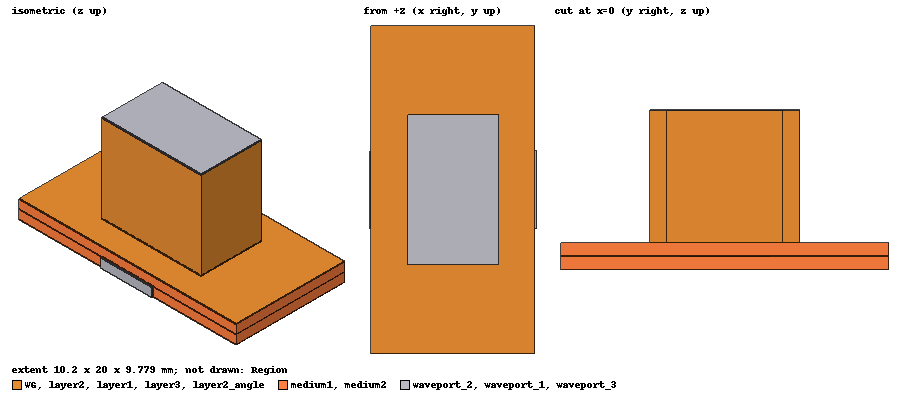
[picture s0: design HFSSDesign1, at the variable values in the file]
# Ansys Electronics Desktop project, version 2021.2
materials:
  vacuum: permittivity=1
  copper: permeability=0.999991 conductivity=58000000
  Rogers RO4003 (tm): permittivity=3.55 dielectric_loss_tangent=0.0027
  Rogers RT/duroid 5880 (tm): permittivity=2.2 dielectric_loss_tangent=0.0009
  air: permittivity=1.0006 permeability=1.0000004
  pec: conductivity=1e+30
  Rogers RO4350 (tm): permittivity=3.66 dielectric_loss_tangent=0.004
  Rogers TMM 3 (tm): permittivity=3.4 dielectric_loss_tangent=0.002
  Rogers RT/duroid 6010/6010LM (tm): permittivity=10.2 dielectric_loss_tangent=0.0023

design HFSSDesign1 (HFSS, DrivenModal, model units mm)
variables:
  m_length = 10mm
  m_width = 20mm
  m_thickness = 0.787mm
  line_thickness = 0.035mm
  WG_length = 3.556mm
  WG_width = 7.112mm
  WG_high = 8mm
  WG_thickness = 1mm
  layer1_sub_length = 3.2mm
  layer1_sub_width = 5.5mm
  layer1_angle_length = 0.4mm
  layer1_angle_width = 1.8mm
  layer2_sub_length = layer1_sub_length
  layer2_sub_width = layer1_sub_width
  layer2_angle_length = 0.25mm
  layer2_angle_width = 1.3mm
  SIW_width = 4.8mm
  via_radius = 0.15mm
  L1 = 3.9mm
  W1 = 6.2mm
  W7 = 3.7mm
  match_via_xdis = 0.1mm
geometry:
  medium1 [Rogers RT/duroid 5880 (tm)] = box(corner=(- m_length /2, - m_width /2, line_thickness /2), size=(m_length, m_width, m_thickness))
  layer1 [copper] = box(corner=(- m_length /2, - m_width /2, m_thickness + line_thickness/2), size=(m_length, m_width, line_thickness))
  layer2 [copper] = box(corner=(- m_length /2, - m_width /2, - line_thickness/2), size=(m_length, m_width, line_thickness))
  layer3 [copper] = box(corner=(- m_length /2, - m_width /2, - m_thickness  - line_thickness * 1.5), size=(m_length, m_width, line_thickness))
  medium2 [Rogers RT/duroid 5880 (tm)] = box(corner=(- m_length /2, - m_width /2, - line_thickness /2 - m_thickness), size=(m_length, m_width, m_thickness))
  WG_sub = box(corner=(- WG_length /2, - WG_width /2, line_thickness * 1.5 + m_thickness), size=(WG_length, WG_width, WG_high))
  WG [copper] = box(corner=(-  (WG_length  + WG_thickness *2) /2, - ( WG_width  + WG_thickness *2) /2, line_thickness * 1.5 + m_thickness), size=(WG_length + WG_thickness *2, WG_width + WG_thickness *2, WG_high))
  layer1_sub = box(corner=(- layer1_sub_length /2, - layer1_sub_width /2, m_thickness + line_thickness/2), size=(layer1_sub_length, layer1_sub_width, line_thickness))
  layer1_angle [copper] = box(corner=(layer1_sub_length /2 - layer1_angle_length, - layer1_angle_width /2, m_thickness + line_thickness/2), size=(layer1_angle_length, layer1_angle_width, line_thickness))
  layer1_angle_1 = layer1_angle.duplicate_mirror(point=(0mm, 0mm, 0mm), normal=(1.6mm, 0mm, 0mm))
  layer1_angle.unite(layer1_angle_1)
  layer2_sub = box(corner=(- layer2_sub_length /2, - layer2_sub_width /2, - line_thickness/2), size=(layer2_sub_length, layer2_sub_width, line_thickness))
  layer2_angle [copper] = box(corner=(layer2_sub_length /2 - layer2_angle_length, - layer2_angle_width /2, - line_thickness/2), size=(layer2_angle_length, layer2_angle_width, line_thickness))
  layer1_angle_2 = layer2_angle.duplicate_mirror(point=(0mm, 0mm, 0mm), normal=(1.6mm, 0mm, 0mm))
  layer2_angle.unite(layer1_angle_2)
  layer1.subtract(layer1_sub)
  layer2.subtract(layer2_sub)
  waveport1 = rectangle(corner=(m_length /2, - SIW_width /2, - line_thickness * 1.5 - m_thickness), y_size=SIW_width, z_size=m_thickness + line_thickness *2)
  waveport_1 [pec] = box(corner=(m_length /2, - SIW_width /2, - line_thickness * 1.5 - m_thickness), size=(0.1mm, SIW_width, m_thickness + line_thickness * 2))
  waveport2 = rectangle(corner=(-  (WG_length  + WG_thickness *2) /2, - ( WG_width  + WG_thickness *2) /2, line_thickness * 1.5 + m_thickness + WG_high), x_size=WG_length + WG_thickness *2, y_size=WG_width + WG_thickness *2)
  waveport_2 [pec] = box(corner=(-  (WG_length  + WG_thickness *2) /2, - ( WG_width  + WG_thickness *2) /2, line_thickness * 1.5 + m_thickness + WG_high), size=(WG_length + WG_thickness *2, WG_width + WG_thickness *2, 0.1mm))
  WG.subtract(WG_sub)
  via [copper] = cylinder(axis=Z, base_centre=(-L1 /2, - W1 /2, line_thickness * 0.5), radius=via_radius, height=m_thickness)
  via1 = cylinder(axis=Z, base_centre=(L1 /2, - W1 /2, line_thickness * 0.5), radius=via_radius, height=m_thickness)
  via2 = cylinder(axis=Z, base_centre=(L1 /2, W1 /2, line_thickness * 0.5), radius=via_radius, height=m_thickness)
  via_1..via_6 = via.duplicate_along_line(step=(0.55mm, 0mm, 0mm), total=7)
  via1_1..via1_10 = via1.duplicate_along_line(step=(0mm, 0.55mm, 0mm), total=11)
  via1_1_1 = via1_1.duplicate_mirror(point=(0mm, 0mm, 0mm), normal=(1mm, 0mm, 0mm))
  via1_2_1 = via1_2.duplicate_mirror(point=(0mm, 0mm, 0mm), normal=(1mm, 0mm, 0mm))
  via1_3_1 = via1_3.duplicate_mirror(point=(0mm, 0mm, 0mm), normal=(1mm, 0mm, 0mm))
  via1_4_1 = via1_4.duplicate_mirror(point=(0mm, 0mm, 0mm), normal=(1mm, 0mm, 0mm))
  via1_5_1 = via1_5.duplicate_mirror(point=(0mm, 0mm, 0mm), normal=(1mm, 0mm, 0mm))
  via1_6_1 = via1_6.duplicate_mirror(point=(0mm, 0mm, 0mm), normal=(1mm, 0mm, 0mm))
  via1_7_1 = via1_7.duplicate_mirror(point=(0mm, 0mm, 0mm), normal=(1mm, 0mm, 0mm))
  via1_8_1 = via1_8.duplicate_mirror(point=(0mm, 0mm, 0mm), normal=(1mm, 0mm, 0mm))
  via1_9_1 = via1_9.duplicate_mirror(point=(0mm, 0mm, 0mm), normal=(1mm, 0mm, 0mm))
  via1_10_1 = via1_10.duplicate_mirror(point=(0mm, 0mm, 0mm), normal=(1mm, 0mm, 0mm))
  via_7 = via.duplicate_mirror(point=(0mm, 0mm, 0mm), normal=(0mm, 1mm, 0mm))
  via_1_1 = via_1.duplicate_mirror(point=(0mm, 0mm, 0mm), normal=(0mm, 1mm, 0mm))
  via_2_1 = via_2.duplicate_mirror(point=(0mm, 0mm, 0mm), normal=(0mm, 1mm, 0mm))
  via_3_1 = via_3.duplicate_mirror(point=(0mm, 0mm, 0mm), normal=(0mm, 1mm, 0mm))
  via_4_1 = via_4.duplicate_mirror(point=(0mm, 0mm, 0mm), normal=(0mm, 1mm, 0mm))
  via_5_1 = via_5.duplicate_mirror(point=(0mm, 0mm, 0mm), normal=(0mm, 1mm, 0mm))
  via_6_1 = via_6.duplicate_mirror(point=(0mm, 0mm, 0mm), normal=(0mm, 1mm, 0mm))
  via.unite(via_1, via_1_1, via_2, via_2_1, via_3, via_3_1, via_4, via_4_1, via_5, via_5_1, via_6, via_6_1, via_7, via1, via1_1, via1_1_1, via1_2, via1_2_1, via1_3, via1_3_1, via1_4, via1_4_1, via1_5, via1_5_1, via1_6, via1_6_1, via1_7, via1_7_1, via1_8, via1_8_1, via1_9, via1_9_1, via1_10, via1_10_1, via2)
  via_SIW = cylinder(axis=Z, base_centre=(m_length /2 - via_radius *2, - SIW_width /2, - line_thickness *0.5 - m_thickness), radius=via_radius, height=m_thickness)
  via_SIW_1..via_SIW_4 = via_SIW.duplicate_along_line(step=(-0.55mm, 0mm, 0mm), total=5)
  via_SIW.unite(via_SIW_1..via_SIW_4)
  via_SIW_5 = via_SIW.duplicate_mirror(point=(7.5mm, 0mm, 0mm), normal=(0mm, 1mm, 0mm))
  via_SIW_6 = via_SIW.duplicate_mirror(point=(0mm, 0mm, 0mm), normal=(1mm, 0mm, 0mm))
  via_SIW_5_1 = via_SIW_5.duplicate_mirror(point=(0mm, 0mm, 0mm), normal=(1mm, 0mm, 0mm))
  waveport3 = waveport1.duplicate_mirror(point=(0mm, 0mm, 0mm), normal=(1mm, 0mm, 0mm))
  waveport_3 [pec] = waveport_1.duplicate_mirror(point=(0mm, 0mm, 0mm), normal=(1mm, 0mm, 0mm))
  via_2_2 [copper] = cylinder(axis=Z, base_centre=(L1/2, W1 /2, -m_thickness - line_thickness*0.5), radius=via_radius, height=m_thickness)
  via_2_2_1 = via_2_2.duplicate_along_line(step=(0mm, -0.55mm, 0mm), total=2)
  via_2_2_2..via_2_2_8 = via_2_2.duplicate_along_line(step=(-0.55mm, 0mm, 0mm), total=8)
  via_2_2_8_2 = via_2_2_8.duplicate_along_line(step=(0mm, -0.55mm, 0mm), total=2)
  via_2_2.unite(via_2_2_1..via_2_2_8, via_2_2_8_2)
  via_2_2_9 = via_2_2.duplicate_mirror(point=(0mm, 0mm, 0mm), normal=(0mm, 1mm, 0mm))
  via_2_2.unite(via_2_2_9, via_SIW, via_SIW_5, via_SIW_5_1, via_SIW_6)
  via_2_2_10 = via_2_2.copy()
  medium2.subtract(via_2_2_10)
  via_8 = via.copy()
  medium1.subtract(via_8)
  Region [air] = region(percentage_offset=50 on all sides)
  via_match [copper] = cylinder(axis=Z, base_centre=(L1/2, W7 /2, -m_thickness - line_thickness*0.5), radius=via_radius, height=m_thickness)
  via_match_1 = via_match.duplicate_mirror(point=(0mm, 0mm, 0mm), normal=(0mm, 1mm, 0mm))
  via_match.unite(via_match_1)
  via_match_2 [copper] = via_match.duplicate_mirror(point=(0mm, 0mm, 0mm), normal=(1.95mm, 0mm, 0mm))
  via_match_3 = via_match.copy()
  via_match_2_1 = via_match_2.copy()
  medium2.subtract(via_match_3, via_match_2_1)
  via_match.move(match_via_xdis, 0mm, 0mm)
  via_match_2.move(- match_via_xdis, 0mm, 0mm)
  via_match_4 = via_match.copy()
  via_match_2_2 = via_match_2.copy()
  medium2.subtract(via_match_4, via_match_2_2)
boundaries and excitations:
  Rad1: Radiation Objects=Region
  1: Wave Port Objects=waveport1 NumModes=1 Modes{Mode1{CharImp=Zpi}}
  2: Wave Port Objects=waveport2 NumModes=1 Modes{Mode1{CharImp=Zpi}}
  3: Wave Port Objects=waveport3 NumModes=1 Modes{Mode1{CharImp=Zpi}}
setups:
  Setup1: HfssDriven Frequency=33.25GHz MaxDeltaS=0.02 MaximumPasses=6 MinimumPasses=1 MinimumConvergedPasses=1 PercentRefinement=30 BasisOrder=1 PortAccuracy=2
    sweep Sweep: 26.5GHz to 40GHz step 0.1GHz; Type=Interpolating InterpTolerance=0.5 InterpMaxSolns=250 InterpUsePortImped=false PassivityErrorTolerance=0.0001
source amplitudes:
  1:1: 1W 0deg
  2:1, 3:1: 0W 0deg
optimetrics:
  ParametricSetup1: Parametric Sim._Setups=[Setup1]
    sweep W7: LIN 3mm 3.8mm 0.1mm
    sweep match_via_xdis: LIN -0.2mm 0.3mm 0.1mm
  ParametricSetup2: Parametric Sim._Setups=[Setup1]
    sweep m_thickness: 0.254mm 0.508mm
  angle_size: Parametric Sim._Setups=[Setup1]
    sweep layer1_angle_length: LIN 0.25mm 0.45mm 0.05mm
    sweep layer1_angle_width: LIN 1.6mm 2mm 0.1mm
    sweep layer2_angle_length: LIN 0.15mm 0.35mm 0.05mm
    sweep layer2_angle_width: LIN 1.1mm 1.5mm 0.1mm
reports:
  S Parameter Plot 1: dB(S(1,1)), dB(S(2,1)) vs Freq on Setup1 : Sweep
  S Parameter Plot 2: dB(S(2,1)) vs Freq on Setup1 : Sweep [layer1_angle_length=all layer1_angle_width=all layer2_angle_length=all layer2_angle_width=all]
  S Parameter Plot 3: dB(S(1,1)), dB(S(2,1)) vs Freq on Setup1 : Sweep [layer1_angle_length=0.3mm layer1_angle_width=2mm layer2_angle_length=0.15mm layer2_angle_width=1.4mm]
